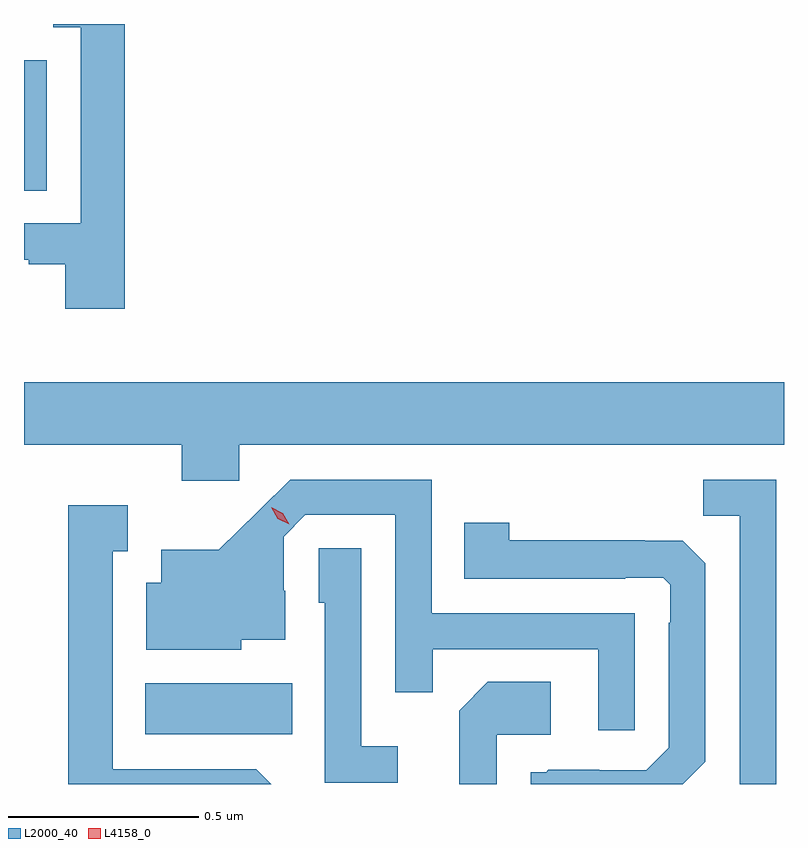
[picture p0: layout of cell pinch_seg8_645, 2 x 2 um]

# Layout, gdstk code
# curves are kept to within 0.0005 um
import gdstk
lib = gdstk.Library(unit=1e-6, precision=1e-09)
def R(c, l, rs):  # rectangles x0, y0, x1, y1
    for r in rs: c.add(gdstk.rectangle(r[:2], r[2:], *l))
def P(c, l, *ps):  # polygons
    for p in ps: c.add(gdstk.Polygon(p, *l))
L2000_40 = (2000, 40)
L4158_0 = (4158, 0)

pinch_seg8_645 = lib.new_cell('pinch_seg8_645')
R(pinch_seg8_645, L2000_40, [(196.199,1086.434,196.586,1086.568), (195.88,1087.864,195.94,1088.208)])
P(pinch_seg8_645, L2000_40, [(196.145,1088.303),(195.957,1088.303),(195.957,1088.295),(196.029,1088.295),(196.029,1087.779),(195.88,1087.779),(195.88,1087.683),(195.893,1087.683),(195.893,1087.671),(195.989,1087.671),(195.989,1087.554),(196.145,1087.554)],
  [(196.446,1087.196),(197.88,1087.196),(197.88,1087.36),(195.88,1087.36),(195.88,1087.196),(196.295,1087.196),(196.295,1087.101),(196.446,1087.101)],
  [(197.859,1087.104),(197.668,1087.104),(197.668,1087.009),(197.763,1087.009),(197.763,1086.303),(197.859,1086.303)],
  [(197.487,1086.753),(196.953,1086.753),(196.953,1087.104),(196.58,1087.104),(196.393,1086.919),(196.241,1086.919),(196.241,1086.832),(196.202,1086.832),(196.202,1086.656),(196.452,1086.656),(196.452,1086.683),(196.567,1086.683),(196.567,1086.812),(196.563,1086.812),(196.563,1086.954),(196.62,1087.011),(196.857,1087.011),(196.857,1086.544),(196.955,1086.544),(196.955,1086.657),(197.391,1086.657),(197.391,1086.444),(197.487,1086.444)],
  [(196.491,1086.342),(196.114,1086.342),(196.114,1086.915),(196.153,1086.915),(196.153,1087.036),(195.996,1087.036),(195.996,1086.303),(196.53,1086.303)],
  [(197.673,1086.362),(197.673,1086.884),(197.614,1086.943),(197.513,1086.943),(197.513,1086.944),(197.157,1086.944),(197.157,1086.991),(197.038,1086.991),(197.038,1086.843),(197.462,1086.843),(197.462,1086.846),(197.562,1086.846),(197.58,1086.828),(197.58,1086.728),(197.577,1086.728),(197.577,1086.399),(197.517,1086.339),(197.394,1086.339),(197.394,1086.34),(197.26,1086.34),(197.254,1086.334),(197.213,1086.334),(197.213,1086.303),(197.614,1086.303)],
  [(196.864,1086.403),(196.767,1086.403),(196.767,1086.923),(196.656,1086.923),(196.656,1086.78),(196.671,1086.78),(196.671,1086.306),(196.864,1086.306)],
  [(197.124,1086.432),(197.266,1086.432),(197.266,1086.572),(197.101,1086.572),(197.025,1086.496),(197.025,1086.303),(197.124,1086.303)])
P(pinch_seg8_645, L4158_0, [(196.578,1086.986),(196.548,1087.001),(196.531,1087.031),(196.531,1087.031),(196.531,1087.031),(196.561,1087.016),(196.578,1086.986),(196.578,1086.986)])

lib.write_gds('pinch_seg8_645.gds')
